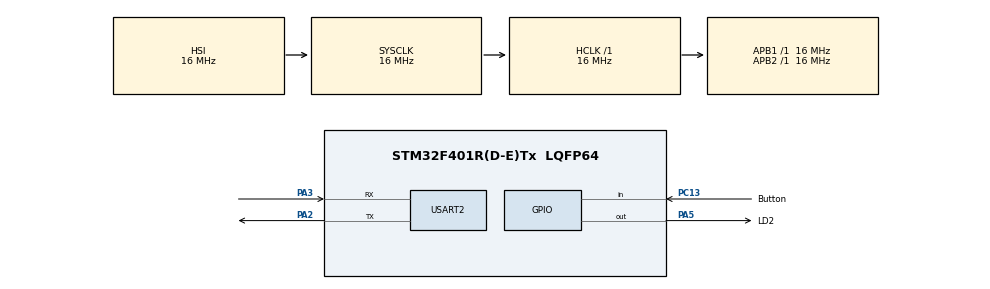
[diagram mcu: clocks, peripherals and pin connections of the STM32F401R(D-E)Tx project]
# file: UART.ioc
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Mcu.Family=STM32F4
Mcu.Name=STM32F401R(D-E)Tx
Mcu.Package=LQFP64
NVIC.PriorityGroup=NVIC_PRIORITYGROUP_4
PA13.Mode=Serial_Wire
PA13.Signal=SYS_JTMS-SWDIO
PA14.Mode=Serial_Wire
PA14.Signal=SYS_JTCK-SWCLK
PA2.Mode=Asynchronous
PA2.Signal=USART2_TX
PA3.Mode=Asynchronous
PA3.Signal=USART2_RX
PA5.GPIO_Label=LD2
PA5.Signal=GPIO_Output
PC13-ANTI_TAMP.GPIO_Label=Button
PC13-ANTI_TAMP.Signal=GPIO_Input
ProjectManager.HeapSize=0x200
ProjectManager.StackSize=0x400
ProjectManager.TargetToolchain=STM32CubeIDE
RCC.AHBFreq_Value=16000000
RCC.APB1Freq_Value=16000000
RCC.APB2Freq_Value=16000000
RCC.CortexFreq_Value=16000000
RCC.HSE_VALUE=25000000
RCC.HSI_VALUE=16000000
RCC.LSE_VALUE=32768
RCC.SYSCLKFreq_VALUE=16000000
RCC.VCOOutputFreq_Value=192000000
USART2.VirtualMode=VM_ASYNC
board=custom

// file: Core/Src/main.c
/* USER CODE BEGIN Header */
/**
  ******************************************************************************
  * @file           : main.c
  * @brief          : Main program body
  ******************************************************************************
  * @attention
  *
  * Copyright (c) 2023 STMicroelectronics.
  * All rights reserved.
  *
  * This software is licensed under terms that can be found in the LICENSE file
  * in the root directory of this software component.
  * If no LICENSE file comes with this software, it is provided AS-IS.
  *
  ******************************************************************************
  */
/* USER CODE END Header */
#include "main.h"

/* USER CODE BEGIN Includes */
#include <string.h>
#include <stdio.h>
/* USER CODE END Includes */

UART_HandleTypeDef huart2;

void SystemClock_Config(void);
static void MX_GPIO_Init(void);
static void MX_USART2_UART_Init(void);

/* USER CODE BEGIN 0 */
#define LINE_MAX_LENGTH	80

static char line_buffer[LINE_MAX_LENGTH + 1];
static uint32_t line_length;

void line_append(uint8_t value)
{
	if (value == '\r' || value == '\n') {
		// odebraliśmy znak końca linii
		if (line_length > 0) {
			// dodajemy 0 na końcu linii
			line_buffer[line_length] = '\0';
			// przetwarzamy dane
			if (strcmp(line_buffer, "wlacz") == 0) {
				HAL_GPIO_WritePin(LD2_GPIO_Port, LD2_Pin, GPIO_PIN_SET);
			} else if (strcmp(line_buffer, "wylacz") == 0) {
				HAL_GPIO_WritePin(LD2_GPIO_Port, LD2_Pin, GPIO_PIN_RESET);
			} else {
				printf("Nieznane polecenie: %s\n", line_buffer);
			}
			// zaczynamy zbieranie danych od nowa
			line_length = 0;
		}
	}
	else {
		if (line_length >= LINE_MAX_LENGTH) {
			// za dużo danych, usuwamy wszystko co odebraliśmy dotychczas
			line_length = 0;
		}
		// dopisujemy wartość do bufora
		line_buffer[line_length++] = value;
	}
}
int __io_putchar(int ch)
{
    if (ch == '\n') {
        uint8_t ch2 = '\r';
        HAL_UART_Transmit(&huart2, &ch2, 1, HAL_MAX_DELAY);
    }

    HAL_UART_Transmit(&huart2, (uint8_t*)&ch, 1, HAL_MAX_DELAY);
    return 1;
}

/* USER CODE END 0 */

int main(void)
{

  /* MCU Configuration--------------------------------------------------------*/

  /* Reset of all peripherals, Initializes the Flash interface and the Systick. */
  HAL_Init();

  /* Configure the system clock */
  SystemClock_Config();

  /* Initialize all configured peripherals */
  MX_GPIO_Init();
  MX_USART2_UART_Init();
  /* USER CODE BEGIN 2 */
int i=0;
   printf("Hello %s world!\r\n","Mati");
   float pi = 3.14f;
   printf("Liczba pi to: %.2f\n", pi);
  /* USER CODE END 2 */

  /* Infinite loop */
  /* USER CODE BEGIN WHILE */
  while (1)
  {

if (HAL_GPIO_ReadPin(Button_GPIO_Port, Button_Pin)==GPIO_PIN_RESET)
{
	i++;
	printf("Klikniecie nr. %d \n",i);
	HAL_Delay(150);
	if(i==10)
	{
		HAL_GPIO_TogglePin(LD2_GPIO_Port, LD2_Pin);
		i=0;
	}
}

				 uint8_t value;
				 if (HAL_UART_Receive(&huart2, &value, 1, 0) == HAL_OK)
				line_append(value);

    /* USER CODE END WHILE */

  }
}

void SystemClock_Config(void)
{
  RCC_OscInitTypeDef RCC_OscInitStruct = {0};
  RCC_ClkInitTypeDef RCC_ClkInitStruct = {0};

  /** Configure the main internal regulator output voltage
  */
  __HAL_RCC_PWR_CLK_ENABLE();
  __HAL_PWR_VOLTAGESCALING_CONFIG(PWR_REGULATOR_VOLTAGE_SCALE2);
  /** Initializes the RCC Oscillators according to the specified parameters
  * in the RCC_OscInitTypeDef structure.
  */
  RCC_OscInitStruct.OscillatorType = RCC_OSCILLATORTYPE_HSI;
  RCC_OscInitStruct.HSIState = RCC_HSI_ON;
  RCC_OscInitStruct.HSICalibrationValue = RCC_HSICALIBRATION_DEFAULT;
  RCC_OscInitStruct.PLL.PLLState = RCC_PLL_NONE;
  if (HAL_RCC_OscConfig(&RCC_OscInitStruct) != HAL_OK)
  {
    Error_Handler();
  }
  /** Initializes the CPU, AHB and APB buses clocks
  */
  RCC_ClkInitStruct.ClockType = RCC_CLOCKTYPE_HCLK|RCC_CLOCKTYPE_SYSCLK
                              |RCC_CLOCKTYPE_PCLK1|RCC_CLOCKTYPE_PCLK2;
  RCC_ClkInitStruct.SYSCLKSource = RCC_SYSCLKSOURCE_HSI;
  RCC_ClkInitStruct.AHBCLKDivider = RCC_SYSCLK_DIV1;
  RCC_ClkInitStruct.APB1CLKDivider = RCC_HCLK_DIV1;
  RCC_ClkInitStruct.APB2CLKDivider = RCC_HCLK_DIV1;

  if (HAL_RCC_ClockConfig(&RCC_ClkInitStruct, FLASH_LATENCY_0) != HAL_OK)
  {
    Error_Handler();
  }
}

static void MX_USART2_UART_Init(void)
{

  huart2.Instance = USART2;
  huart2.Init.BaudRate = 115200;
  huart2.Init.WordLength = UART_WORDLENGTH_8B;
  huart2.Init.StopBits = UART_STOPBITS_1;
  huart2.Init.Parity = UART_PARITY_NONE;
  huart2.Init.Mode = UART_MODE_TX_RX;
  huart2.Init.HwFlowCtl = UART_HWCONTROL_NONE;
  huart2.Init.OverSampling = UART_OVERSAMPLING_16;
  if (HAL_UART_Init(&huart2) != HAL_OK)
  {
    Error_Handler();
  }

}

static void MX_GPIO_Init(void)
{
  GPIO_InitTypeDef GPIO_InitStruct = {0};

  /* GPIO Ports Clock Enable */
  __HAL_RCC_GPIOC_CLK_ENABLE();
  __HAL_RCC_GPIOA_CLK_ENABLE();

  /*Configure GPIO pin Output Level */
  HAL_GPIO_WritePin(LD2_GPIO_Port, LD2_Pin, GPIO_PIN_RESET);

  /*Configure GPIO pin : Button_Pin */
  GPIO_InitStruct.Pin = Button_Pin;
  GPIO_InitStruct.Mode = GPIO_MODE_INPUT;
  GPIO_InitStruct.Pull = GPIO_NOPULL;
  HAL_GPIO_Init(Button_GPIO_Port, &GPIO_InitStruct);

  /*Configure GPIO pin : LD2_Pin */
  GPIO_InitStruct.Pin = LD2_Pin;
  GPIO_InitStruct.Mode = GPIO_MODE_OUTPUT_PP;
  GPIO_InitStruct.Pull = GPIO_NOPULL;
  GPIO_InitStruct.Speed = GPIO_SPEED_FREQ_LOW;
  HAL_GPIO_Init(LD2_GPIO_Port, &GPIO_InitStruct);

}

void Error_Handler(void)
{
  __disable_irq();
  while (1)
  {
  }
}
